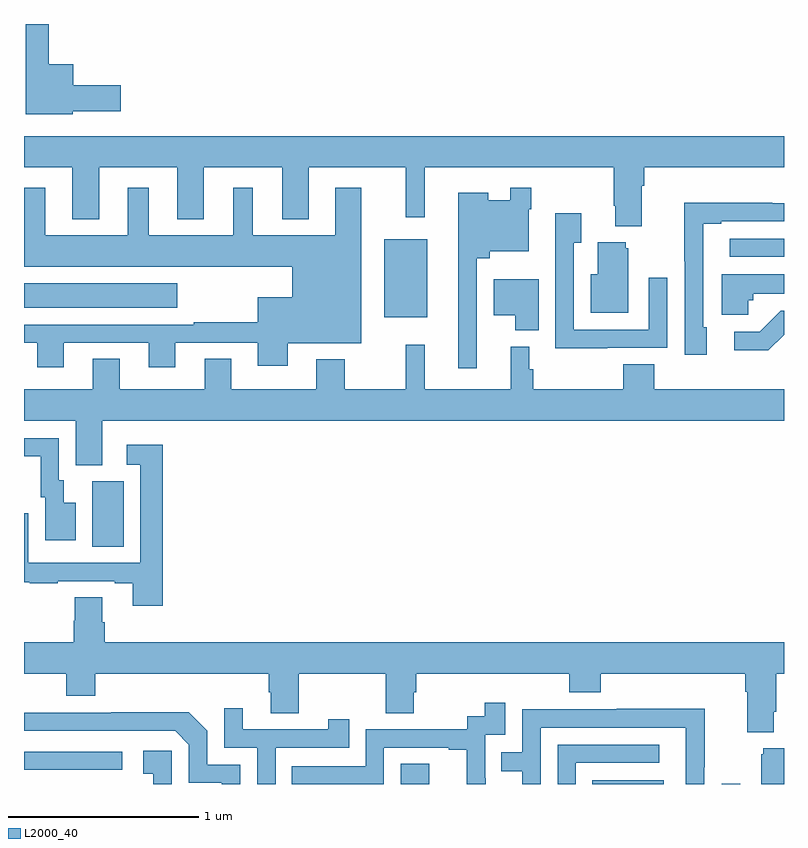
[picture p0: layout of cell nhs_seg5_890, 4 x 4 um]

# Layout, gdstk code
import gdstk
lib = gdstk.Library(unit=1e-6, precision=1e-09)
def R(c, l, rs):  # rectangles x0, y0, x1, y1
    for r in rs: c.add(gdstk.rectangle(r[:2], r[2:], *l))
def P(c, l, *ps):  # polygons
    for p in ps: c.add(gdstk.Polygon(p, *l))
L2000_40 = (2000, 40)

nhs_seg5_890 = lib.new_cell('nhs_seg5_890')
R(nhs_seg5_890, L2000_40, [(168.984,902.799,169.132,902.905), (169.99,902.799,170.368,902.818), (170.673,902.799,170.769,902.8), (167,902.874,167.518,902.97), (167.36,904.048,167.524,904.392), (168.896,905.255,169.123,905.665), (167,905.306,167.806,905.434), (170.715,905.574,171,905.67)])
P(nhs_seg5_890, L2000_40, [(167.256,906.341),(167.509,906.341),(167.509,906.476),(167.26,906.476),(167.26,906.586),(167.131,906.586),(167.131,906.799),(167.009,906.799),(167.009,906.323),(167.256,906.323)],
  [(170.251,905.948),(170.264,905.948),(170.264,906.044),(171,906.044),(171,906.208),(167,906.208),(167,906.044),(167.255,906.044),(167.255,905.771),(167.395,905.771),(167.395,906.044),(167.807,906.044),(167.807,905.771),(167.947,905.771),(167.947,906.044),(168.359,906.044),(168.359,905.771),(168.499,905.771),(168.499,906.044),(169.009,906.044),(169.009,905.781),(169.108,905.781),(169.108,906.044),(170.104,906.044),(170.104,905.842),(170.111,905.842),(170.111,905.735),(170.251,905.735)],
  [(167.209,905.121),(167.657,905.121),(167.657,904.992),(167.797,904.992),(167.797,905.121),(168.23,905.121),(168.23,905),(168.388,905),(168.388,905.12),(168.775,905.12),(168.775,905.938),(168.638,905.938),(168.638,905.686),(168.205,905.686),(168.205,905.938),(168.101,905.938),(168.101,905.686),(167.656,905.686),(167.656,905.938),(167.546,905.938),(167.546,905.686),(167.113,905.686),(167.113,905.938),(167,905.938),(167,905.522),(168.413,905.522),(168.413,905.362),(168.23,905.362),(168.23,905.23),(167.893,905.23),(167.893,905.217),(167,905.217),(167,905.121),(167.069,905.121),(167.069,904.992),(167.209,904.992)],
  [(169.383,905.567),(169.452,905.567),(169.452,905.603),(169.656,905.603),(169.656,905.825),(169.669,905.825),(169.669,905.938),(169.56,905.938),(169.56,905.872),(169.444,905.872),(169.444,905.911),(169.286,905.911),(169.286,904.986),(169.383,904.986)],
  [(170.593,905.202),(170.574,905.202),(170.574,905.748),(170.671,905.748),(170.671,905.76),(171,905.76),(171,905.856),(170.939,905.856),(170.939,905.858),(170.476,905.858),(170.476,905.551),(170.478,905.551),(170.478,905.058),(170.593,905.058)],
  [(170.069,905.094),(170.385,905.094),(170.385,905.464),(170.289,905.464),(170.289,905.19),(169.893,905.19),(169.893,905.647),(169.933,905.647),(169.933,905.803),(169.796,905.803),(169.796,905.558),(169.797,905.558),(169.797,905.093),(170.069,905.093)],
  [(170.179,905.619),(170.168,905.619),(170.168,905.65),(170.021,905.65),(170.021,905.482),(169.982,905.482),(169.982,905.279),(170.179,905.279)],
  [(170.811,905.346),(170.838,905.346),(170.838,905.378),(171,905.378),(171,905.482),(170.672,905.482),(170.672,905.27),(170.811,905.27)],
  [(169.708,905.455),(169.472,905.455),(169.472,905.267),(169.586,905.267),(169.586,905.186),(169.708,905.186)],
  [(171,905.163),(171,905.289),(170.984,905.289),(170.873,905.178),(170.739,905.178),(170.739,905.081),(170.917,905.081)],
  [(167.413,904.712),(171,904.712),(171,904.876),(170.318,904.876),(170.318,905.009),(170.153,905.009),(170.153,904.876),(169.679,904.876),(169.679,904.983),(169.66,904.983),(169.66,905.101),(169.562,905.101),(169.562,904.876),(169.109,904.876),(169.109,905.11),(169.009,905.11),(169.009,904.876),(168.687,904.876),(168.687,905.035),(168.539,905.035),(168.539,904.876),(168.091,904.876),(168.091,905.036),(167.951,905.036),(167.951,904.876),(167.503,904.876),(167.503,905.036),(167.363,905.036),(167.363,904.876),(167,904.876),(167,904.712),(167.273,904.712),(167.273,904.477),(167.413,904.477)],
  [(167.272,904.279),(167.209,904.279),(167.209,904.398),(167.184,904.398),(167.184,904.62),(167,904.62),(167,904.524),(167.087,904.524),(167.087,904.308),(167.111,904.308),(167.111,904.083),(167.272,904.083)],
  [(167.729,904.585),(167.541,904.585),(167.541,904.479),(167.613,904.479),(167.613,903.963),(167.022,903.963),(167.022,904.225),(167,904.225),(167,903.861),(167.029,903.861),(167.029,903.855),(167.177,903.855),(167.177,903.867),(167.477,903.867),(167.477,903.855),(167.573,903.855),(167.573,903.738),(167.729,903.738)],
  [(170.947,903.178),(170.96,903.178),(170.96,903.38),(171,903.38),(171,903.544),(167.426,903.544),(167.426,903.65),(167.413,903.65),(167.413,903.782),(167.266,903.782),(167.266,903.657),(167.261,903.657),(167.261,903.544),(167,903.544),(167,903.38),(167.222,903.38),(167.222,903.263),(167.375,903.263),(167.375,903.38),(168.287,903.38),(168.287,903.282),(168.299,903.282),(168.299,903.172),(168.447,903.172),(168.447,903.38),(168.904,903.38),(168.904,903.172),(169.051,903.172),(169.051,903.282),(169.064,903.282),(169.064,903.38),(169.871,903.38),(169.871,903.281),(170.036,903.281),(170.036,903.38),(170.795,903.38),(170.795,903.284),(170.807,903.284),(170.807,903.071),(170.947,903.071)],
  [(168.894,902.991),(169.235,902.991),(169.235,902.979),(169.331,902.979),(169.331,902.799),(169.43,902.799),(169.43,902.828),(169.428,902.828),(169.428,903.057),(169.533,903.057),(169.533,903.226),(169.425,903.226),(169.425,903.156),(169.332,903.156),(169.332,903.087),(168.798,903.087),(168.798,902.892),(168.409,902.892),(168.409,902.799),(168.894,902.799)],
  [(168.324,902.991),(168.713,902.991),(168.713,903.139),(168.602,903.139),(168.602,903.087),(168.151,903.087),(168.151,903.199),(168.054,903.199),(168.054,902.991),(168.228,902.991),(168.228,902.799),(168.324,902.799)],
  [(169.719,903.096),(170.484,903.096),(170.484,902.799),(170.58,902.799),(170.58,902.887),(170.583,902.887),(170.583,903.194),(170.119,903.194),(170.119,903.192),(169.623,903.192),(169.623,902.967),(169.513,902.967),(169.513,902.866),(169.623,902.866),(169.623,902.799),(169.719,902.799)],
  [(168.138,902.901),(167.964,902.901),(167.964,903.078),(167.866,903.176),(167.458,903.176),(167.458,903.174),(167,903.174),(167,903.078),(167.796,903.078),(167.868,903.006),(167.868,902.805),(168.041,902.805),(168.041,902.799),(168.138,902.799)],
  [(169.905,902.91),(170.344,902.91),(170.344,903.006),(169.809,903.006),(169.809,902.799),(169.905,902.799)],
  [(171,902.986),(170.891,902.986),(170.891,902.955),(170.879,902.955),(170.879,902.799),(171,902.799)],
  [(167.778,902.974),(167.628,902.974),(167.628,902.853),(167.681,902.853),(167.681,902.799),(167.778,902.799)])

lib.write_gds('nhs_seg5_890.gds')
